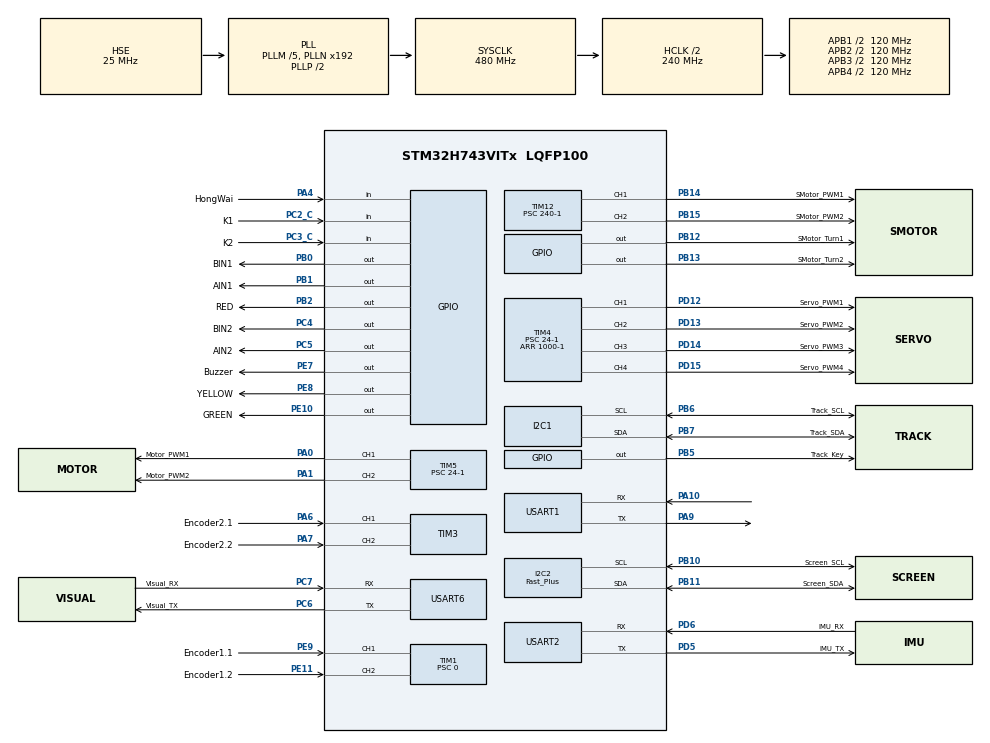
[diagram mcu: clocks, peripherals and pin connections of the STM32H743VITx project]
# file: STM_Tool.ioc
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CORTEX_M7.AccessPermission-Cortex_Memory_Protection_Unit_Region0_Settings=MPU_REGION_FULL_ACCESS
CORTEX_M7.AccessPermission-Cortex_Memory_Protection_Unit_Region1_Settings=MPU_REGION_FULL_ACCESS
CORTEX_M7.AccessPermission-Cortex_Memory_Protection_Unit_Region2_Settings=MPU_REGION_FULL_ACCESS
CORTEX_M7.AccessPermission-Cortex_Memory_Protection_Unit_Region3_Settings=MPU_REGION_FULL_ACCESS
CORTEX_M7.AccessPermission-Cortex_Memory_Protection_Unit_Region4_Settings=MPU_REGION_FULL_ACCESS
CORTEX_M7.BaseAddress-Cortex_Memory_Protection_Unit_Region0_Settings=0x24000000
CORTEX_M7.BaseAddress-Cortex_Memory_Protection_Unit_Region1_Settings=0x30000000
CORTEX_M7.BaseAddress-Cortex_Memory_Protection_Unit_Region2_Settings=0x30020000
CORTEX_M7.BaseAddress-Cortex_Memory_Protection_Unit_Region3_Settings=0x30040000
CORTEX_M7.BaseAddress-Cortex_Memory_Protection_Unit_Region4_Settings=0x38000000
CORTEX_M7.CPU_DCache=Enabled
CORTEX_M7.CPU_ICache=Enabled
CORTEX_M7.Enable-Cortex_Memory_Protection_Unit_Region0_Settings=MPU_REGION_ENABLE
CORTEX_M7.Enable-Cortex_Memory_Protection_Unit_Region1_Settings=MPU_REGION_ENABLE
CORTEX_M7.Enable-Cortex_Memory_Protection_Unit_Region2_Settings=MPU_REGION_ENABLE
CORTEX_M7.Enable-Cortex_Memory_Protection_Unit_Region3_Settings=MPU_REGION_ENABLE
CORTEX_M7.Enable-Cortex_Memory_Protection_Unit_Region4_Settings=MPU_REGION_ENABLE
CORTEX_M7.IsBufferable-Cortex_Memory_Protection_Unit_Region0_Settings=MPU_ACCESS_BUFFERABLE
CORTEX_M7.IsCacheable-Cortex_Memory_Protection_Unit_Region0_Settings=MPU_ACCESS_CACHEABLE
CORTEX_M7.MPU_Control=MPU_PRIVILEGED_DEFAULT
CORTEX_M7.Size-Cortex_Memory_Protection_Unit_Region0_Settings=MPU_REGION_SIZE_512KB
CORTEX_M7.Size-Cortex_Memory_Protection_Unit_Region1_Settings=MPU_REGION_SIZE_128KB
CORTEX_M7.Size-Cortex_Memory_Protection_Unit_Region2_Settings=MPU_REGION_SIZE_128KB
CORTEX_M7.Size-Cortex_Memory_Protection_Unit_Region3_Settings=MPU_REGION_SIZE_32KB
CORTEX_M7.Size-Cortex_Memory_Protection_Unit_Region4_Settings=MPU_REGION_SIZE_64KB
CORTEX_M7.TypeExtField-Cortex_Memory_Protection_Unit_Region0_Settings=MPU_TEX_LEVEL1
CORTEX_M7.TypeExtField-Cortex_Memory_Protection_Unit_Region1_Settings=MPU_TEX_LEVEL1
CORTEX_M7.TypeExtField-Cortex_Memory_Protection_Unit_Region2_Settings=MPU_TEX_LEVEL1
CORTEX_M7.TypeExtField-Cortex_Memory_Protection_Unit_Region3_Settings=MPU_TEX_LEVEL1
CORTEX_M7.TypeExtField-Cortex_Memory_Protection_Unit_Region4_Settings=MPU_TEX_LEVEL1
I2C1.Timing=0x307075B1
I2C2.I2C_Speed_Mode=I2C_Fast_Plus
I2C2.Timing=0x0050174F
Mcu.Family=STM32H7
Mcu.Name=STM32H743VITx
Mcu.Package=LQFP100
NVIC.PriorityGroup=NVIC_PRIORITYGROUP_4
NVIC.TIM1_UP_IRQn=true\:0\:0\:false\:false\:true\:true\:true\:true
NVIC.TIM3_IRQn=true\:0\:0\:false\:false\:true\:true\:true\:true
NVIC.TIM7_IRQn=true\:0\:0\:false\:false\:true\:true\:true\:true
NVIC.USART1_IRQn=true\:0\:0\:false\:false\:true\:true\:true\:true
NVIC.USART2_IRQn=true\:0\:0\:false\:false\:true\:true\:true\:true
NVIC.USART6_IRQn=true\:0\:0\:false\:false\:true\:true\:true\:true
PA0.GPIO_Label=Motor_PWM1
PA0.Signal=S_TIM5_CH1
PA1.GPIO_Label=Motor_PWM2
PA1.Signal=S_TIM5_CH2
PA10.Mode=Asynchronous
PA10.Signal=USART1_RX
PA13\ (JTMS/SWDIO).Mode=Serial_Wire
PA13\ (JTMS/SWDIO).Signal=DEBUG_JTMS-SWDIO
PA14\ (JTCK/SWCLK).Mode=Serial_Wire
PA14\ (JTCK/SWCLK).Signal=DEBUG_JTCK-SWCLK
PA4.GPIO_Label=HongWai
PA4.Signal=GPIO_Input
PA6.GPIO_Label=Encoder2.1
PA6.Signal=S_TIM3_CH1
PA7.GPIO_Label=Encoder2.2
PA7.Signal=S_TIM3_CH2
PA9.Mode=Asynchronous
PA9.Signal=USART1_TX
PB0.GPIO_Label=BIN1
PB0.Signal=GPIO_Output
PB1.GPIO_Label=AIN1
PB1.Signal=GPIO_Output
PB10.GPIO_Label=Screen_SCL
PB10.Mode=I2C
PB10.Signal=I2C2_SCL
PB11.GPIO_Label=Screen_SDA
PB11.Mode=I2C
PB11.Signal=I2C2_SDA
PB12.GPIO_Label=SMotor_Turn1
PB12.Signal=GPIO_Output
PB13.GPIO_Label=SMotor_Turn2
PB13.Signal=GPIO_Output
PB14.GPIO_Label=SMotor_PWM1
PB14.Signal=S_TIM12_CH1
PB15.GPIO_Label=SMotor_PWM2
PB15.Signal=S_TIM12_CH2
PB2.GPIO_Label=RED
PB2.Signal=GPIO_Output
PB5.GPIO_Label=Track_Key
PB5.Signal=GPIO_Output
PB6.GPIO_Label=Track_SCL
PB6.Mode=I2C
PB6.Signal=I2C1_SCL
PB7.GPIO_Label=Track_SDA
PB7.Mode=I2C
PB7.Signal=I2C1_SDA
PC2_C.GPIO_Label=K1
PC2_C.GPIO_PuPd=GPIO_PULLUP
PC2_C.Signal=GPIO_Input
PC3_C.GPIO_Label=K2
PC3_C.GPIO_PuPd=GPIO_PULLUP
PC3_C.Signal=GPIO_Input
PC4.GPIO_Label=BIN2
PC4.Signal=GPIO_Output
PC5.GPIO_Label=AIN2
PC5.Signal=GPIO_Output
PC6.GPIO_Label=Visual_TX
PC6.Mode=Asynchronous
PC6.Signal=USART6_TX
PC7.GPIO_Label=Visual_RX
PC7.Mode=Asynchronous
PC7.Signal=USART6_RX
PD12.GPIO_Label=Servo_PWM1
PD12.Signal=S_TIM4_CH1
PD13.GPIO_Label=Servo_PWM2
PD13.Signal=S_TIM4_CH2
PD14.GPIO_Label=Servo_PWM3
PD14.Signal=S_TIM4_CH3
PD15.GPIO_Label=Servo_PWM4
PD15.Signal=S_TIM4_CH4
PD5.GPIO_Label=IMU_TX
PD5.Mode=Asynchronous
PD5.Signal=USART2_TX
PD6.GPIO_Label=IMU_RX
PD6.Mode=Asynchronous
PD6.Signal=USART2_RX
PE10.GPIO_Label=GREEN
PE10.Signal=GPIO_Output
PE11.GPIO_Label=Encoder1.2
PE11.Signal=S_TIM1_CH2
PE7.GPIO_Label=Buzzer
PE7.Signal=GPIO_Output
PE8.GPIO_Label=YELLOW
PE8.Signal=GPIO_Output
PE9.GPIO_Label=Encoder1.1
PE9.Signal=S_TIM1_CH1
PH0-OSC_IN\ (PH0).Mode=HSE-External-Oscillator
PH0-OSC_IN\ (PH0).Signal=RCC_OSC_IN
PH1-OSC_OUT\ (PH1).Mode=HSE-External-Oscillator
PH1-OSC_OUT\ (PH1).Signal=RCC_OSC_OUT
ProjectManager.HeapSize=0x10000
ProjectManager.StackSize=0x7400
ProjectManager.TargetToolchain=MDK-ARM V5.32
RCC.ADCFreq_Value=50390625
RCC.APB1Freq_Value=120000000
RCC.APB2Freq_Value=120000000
RCC.APB3Freq_Value=120000000
RCC.APB4Freq_Value=120000000
RCC.CortexFreq_Value=480000000
RCC.D1PPRE=RCC_APB3_DIV2
RCC.D2PPRE1=RCC_APB1_DIV2
RCC.D2PPRE2=RCC_APB2_DIV2
RCC.D3PPRE=RCC_APB4_DIV2
RCC.DIVM1=5
RCC.DIVN1=192
RCC.HCLKFreq_Value=240000000
RCC.HPRE=RCC_HCLK_DIV2
RCC.HSE_VALUE=25000000
RCC.PLLSourceVirtual=RCC_PLLSOURCE_HSE
RCC.PWR_Regulator_Voltage_Scale=PWR_REGULATOR_VOLTAGE_SCALE0
RCC.ProductRev=revV
RCC.SYSCLKFreq_VALUE=480000000
RCC.SYSCLKSource=RCC_SYSCLKSOURCE_PLLCLK
RCC.USBFreq_Value=480000000
SH.S_TIM12_CH1.0=TIM12_CH1,PWM Generation1 CH1
SH.S_TIM12_CH2.0=TIM12_CH2,PWM Generation2 CH2
SH.S_TIM1_CH1.0=TIM1_CH1,Encoder_Interface
SH.S_TIM1_CH2.0=TIM1_CH2,Encoder_Interface
SH.S_TIM3_CH1.0=TIM3_CH1,Encoder_Interface
SH.S_TIM3_CH2.0=TIM3_CH2,Encoder_Interface
SH.S_TIM4_CH1.0=TIM4_CH1,PWM Generation1 CH1
SH.S_TIM4_CH2.0=TIM4_CH2,PWM Generation2 CH2
SH.S_TIM4_CH3.0=TIM4_CH3,PWM Generation3 CH3
SH.S_TIM4_CH4.0=TIM4_CH4,PWM Generation4 CH4
SH.S_TIM5_CH1.0=TIM5_CH1,PWM Generation1 CH1
SH.S_TIM5_CH2.0=TIM5_CH2,PWM Generation2 CH2
TIM1.Period=65535
TIM1.Prescaler=0
TIM12.Channel-PWM\ Generation1\ CH1=TIM_CHANNEL_1
TIM12.Channel-PWM\ Generation2\ CH2=TIM_CHANNEL_2
TIM12.Period=1000-1
TIM12.Prescaler=240-1
TIM12.Pulse-PWM\ Generation1\ CH1=500
TIM12.Pulse-PWM\ Generation2\ CH2=500
TIM4.Channel-PWM\ Generation1\ CH1=TIM_CHANNEL_1
TIM4.Channel-PWM\ Generation2\ CH2=TIM_CHANNEL_2
TIM4.Channel-PWM\ Generation3\ CH3=TIM_CHANNEL_3
TIM4.Channel-PWM\ Generation4\ CH4=TIM_CHANNEL_4
TIM4.Period=1000-1
TIM4.Prescaler=24-1
TIM5.Channel-PWM\ Generation1\ CH1=TIM_CHANNEL_1
TIM5.Channel-PWM\ Generation2\ CH2=TIM_CHANNEL_2
TIM5.Period=1000-1
TIM5.Prescaler=24-1
TIM6.Prescaler=240-1
TIM7.Prescaler=239
USART1.VirtualMode-Asynchronous=VM_ASYNC
USART2.VirtualMode-Asynchronous=VM_ASYNC
USART6.VirtualMode=VM_ASYNC
VP_TIM12_VS_ClockSourceINT.Mode=Internal
VP_TIM4_VS_ClockSourceINT.Mode=Internal
VP_TIM5_VS_ClockSourceINT.Mode=Internal
VP_TIM6_VS_ClockSourceINT.Mode=Enable_Timer
VP_TIM7_VS_ClockSourceINT.Mode=Enable_Timer
board=custom

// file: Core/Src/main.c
/* USER CODE BEGIN Header */
/**
  ******************************************************************************
  * @file           : main.c
  * @brief          : Main program body
  ******************************************************************************
  * @attention
  *
  * Copyright (c) 2025 STMicroelectronics.
  * All rights reserved.
  *
  * This software is licensed under terms that can be found in the LICENSE file
  * in the root directory of this software component.
  * If no LICENSE file comes with this software, it is provided AS-IS.
  *
  ******************************************************************************
  */
/* USER CODE END Header */
#include "main.h"
#include "i2c.h"
#include "tim.h"
#include "usart.h"
#include "gpio.h"

/* USER CODE BEGIN Includes */
#include "AllHeader.h"
/* USER CODE END Includes */

/* USER CODE BEGIN PV */
//OLED
char message[256];

//JY61P
uint8_t GyroscopeUsart3RxBuffer[33];
double GyroscopeChannelData[10];
uint8_t tempBuffer=0,RxBuffer;

/* USER CODE END PV */

void SystemClock_Config(void);
static void MPU_Initialize(void);
static void MPU_Config(void);

int main(void)
{

  /* Enable I-Cache---------------------------------------------------------*/
  SCB_EnableICache();

  /* Enable D-Cache---------------------------------------------------------*/
  SCB_EnableDCache();

  /* MCU Configuration--------------------------------------------------------*/

  /* Reset of all peripherals, Initializes the Flash interface and the Systick. */
  HAL_Init();

  /* MPU Configuration--------------------------------------------------------*/
  MPU_Config();

  /* Configure the system clock */
  SystemClock_Config();

  /* Initialize all configured peripherals */
  MX_GPIO_Init();
  MX_TIM7_Init();
  MX_USART1_UART_Init();
  MX_TIM1_Init();
  MX_TIM3_Init();
  MX_TIM5_Init();
  MX_TIM6_Init();
  MX_USART2_UART_Init();
  MX_I2C1_Init();
  MX_USART6_UART_Init();
  MX_I2C2_Init();
  MX_TIM4_Init();
  MX_TIM12_Init();
  /* USER CODE BEGIN 2 */
	YELLOW_up();

	//OLED Init
	OLED_Init();
	OLED_Clear();
	OLED_ShowString(20,0,"Hello NUEDC", 8);
	//JY61P Init
	JY61P_Init(&huart2);
	//Motor,Encoder,CarPosition Init
 	MECInit();

	YELLOW_down();
	GREEN_up();
  /* USER CODE END 2 */

  /* Infinite loop */
  /* USER CODE BEGIN WHILE */
  while (1)
  {
		UpdateData_Car();
		snprintf(message,sizeof(message),"Yaw = %.1f", GyroscopeChannelData[8]);
		OLED_ShowString(0,2,message,16);

    /* USER CODE END WHILE */

  }
}

void SystemClock_Config(void)
{
  RCC_OscInitTypeDef RCC_OscInitStruct = {0};
  RCC_ClkInitTypeDef RCC_ClkInitStruct = {0};

  /** Supply configuration update enable
  */
  HAL_PWREx_ConfigSupply(PWR_LDO_SUPPLY);

  /** Configure the main internal regulator output voltage
  */
  __HAL_PWR_VOLTAGESCALING_CONFIG(PWR_REGULATOR_VOLTAGE_SCALE1);

  while(!__HAL_PWR_GET_FLAG(PWR_FLAG_VOSRDY)) {}

  __HAL_RCC_SYSCFG_CLK_ENABLE();
  __HAL_PWR_VOLTAGESCALING_CONFIG(PWR_REGULATOR_VOLTAGE_SCALE0);

  while(!__HAL_PWR_GET_FLAG(PWR_FLAG_VOSRDY)) {}

  /** Initializes the RCC Oscillators according to the specified parameters
  * in the RCC_OscInitTypeDef structure.
  */
  RCC_OscInitStruct.OscillatorType = RCC_OSCILLATORTYPE_HSE;
  RCC_OscInitStruct.HSEState = RCC_HSE_ON;
  RCC_OscInitStruct.PLL.PLLState = RCC_PLL_ON;
  RCC_OscInitStruct.PLL.PLLSource = RCC_PLLSOURCE_HSE;
  RCC_OscInitStruct.PLL.PLLM = 5;
  RCC_OscInitStruct.PLL.PLLN = 192;
  RCC_OscInitStruct.PLL.PLLP = 2;
  RCC_OscInitStruct.PLL.PLLQ = 2;
  RCC_OscInitStruct.PLL.PLLR = 2;
  RCC_OscInitStruct.PLL.PLLRGE = RCC_PLL1VCIRANGE_2;
  RCC_OscInitStruct.PLL.PLLVCOSEL = RCC_PLL1VCOWIDE;
  RCC_OscInitStruct.PLL.PLLFRACN = 0;
  if (HAL_RCC_OscConfig(&RCC_OscInitStruct) != HAL_OK)
  {
    Error_Handler();
  }

  /** Initializes the CPU, AHB and APB buses clocks
  */
  RCC_ClkInitStruct.ClockType = RCC_CLOCKTYPE_HCLK|RCC_CLOCKTYPE_SYSCLK
                              |RCC_CLOCKTYPE_PCLK1|RCC_CLOCKTYPE_PCLK2
                              |RCC_CLOCKTYPE_D3PCLK1|RCC_CLOCKTYPE_D1PCLK1;
  RCC_ClkInitStruct.SYSCLKSource = RCC_SYSCLKSOURCE_PLLCLK;
  RCC_ClkInitStruct.SYSCLKDivider = RCC_SYSCLK_DIV1;
  RCC_ClkInitStruct.AHBCLKDivider = RCC_HCLK_DIV2;
  RCC_ClkInitStruct.APB3CLKDivider = RCC_APB3_DIV2;
  RCC_ClkInitStruct.APB1CLKDivider = RCC_APB1_DIV2;
  RCC_ClkInitStruct.APB2CLKDivider = RCC_APB2_DIV2;
  RCC_ClkInitStruct.APB4CLKDivider = RCC_APB4_DIV2;

  if (HAL_RCC_ClockConfig(&RCC_ClkInitStruct, FLASH_LATENCY_4) != HAL_OK)
  {
    Error_Handler();
  }
}

/* USER CODE BEGIN 4 */
//Generate 1us delay
void delay_us_hal(uint16_t nus)
{
    __HAL_TIM_SET_COUNTER(&htim6, 0);
    HAL_TIM_Base_Start(&htim6);
    while (__HAL_TIM_GET_COUNTER(&htim6) < nus);
    HAL_TIM_Base_Stop(&htim6);
}

void HAL_TIM_PeriodElapsedCallback(TIM_HandleTypeDef *htim)
{
	//Update Speed
	UpdateAllSpeed(htim);
}

void HAL_UART_RxCpltCallback(UART_HandleTypeDef *huart)
{
  if(huart->Instance == USART2)
	{
		IT_JY61P();
	}
}

/* USER CODE END 4 */

/* MPU Configuration */

void MPU_Config(void)
{
  MPU_Region_InitTypeDef MPU_InitStruct = {0};

  /* Disables the MPU */
  HAL_MPU_Disable();

  /** Initializes and configures the Region and the memory to be protected
  */
  MPU_InitStruct.Enable = MPU_REGION_ENABLE;
  MPU_InitStruct.Number = MPU_REGION_NUMBER0;
  MPU_InitStruct.BaseAddress = 0x24000000;
  MPU_InitStruct.Size = MPU_REGION_SIZE_512KB;
  MPU_InitStruct.SubRegionDisable = 0x0;
  MPU_InitStruct.TypeExtField = MPU_TEX_LEVEL1;
  MPU_InitStruct.AccessPermission = MPU_REGION_FULL_ACCESS;
  MPU_InitStruct.DisableExec = MPU_INSTRUCTION_ACCESS_ENABLE;
  MPU_InitStruct.IsShareable = MPU_ACCESS_NOT_SHAREABLE;
  MPU_InitStruct.IsCacheable = MPU_ACCESS_CACHEABLE;
  MPU_InitStruct.IsBufferable = MPU_ACCESS_BUFFERABLE;

  HAL_MPU_ConfigRegion(&MPU_InitStruct);

  /** Initializes and configures the Region and the memory to be protected
  */
  MPU_InitStruct.Number = MPU_REGION_NUMBER1;
  MPU_InitStruct.BaseAddress = 0x30000000;
  MPU_InitStruct.Size = MPU_REGION_SIZE_128KB;
  MPU_InitStruct.IsCacheable = MPU_ACCESS_NOT_CACHEABLE;
  MPU_InitStruct.IsBufferable = MPU_ACCESS_NOT_BUFFERABLE;

  HAL_MPU_ConfigRegion(&MPU_InitStruct);

  /** Initializes and configures the Region and the memory to be protected
  */
  MPU_InitStruct.Number = MPU_REGION_NUMBER2;
  MPU_InitStruct.BaseAddress = 0x30020000;

  HAL_MPU_ConfigRegion(&MPU_InitStruct);

  /** Initializes and configures the Region and the memory to be protected
  */
  MPU_InitStruct.Number = MPU_REGION_NUMBER3;
  MPU_InitStruct.BaseAddress = 0x30040000;
  MPU_InitStruct.Size = MPU_REGION_SIZE_32KB;

  HAL_MPU_ConfigRegion(&MPU_InitStruct);

  /** Initializes and configures the Region and the memory to be protected
  */
  MPU_InitStruct.Number = MPU_REGION_NUMBER4;
  MPU_InitStruct.BaseAddress = 0x38000000;
  MPU_InitStruct.Size = MPU_REGION_SIZE_64KB;

  HAL_MPU_ConfigRegion(&MPU_InitStruct);
  /* Enables the MPU */
  HAL_MPU_Enable(MPU_PRIVILEGED_DEFAULT);

}

void Error_Handler(void)
{
  __disable_irq();
  while (1)
  {
  }
}
